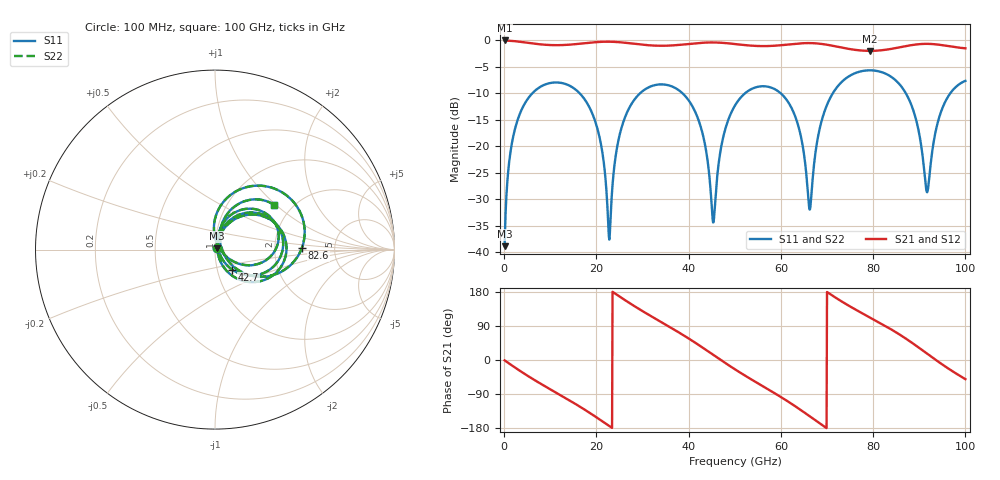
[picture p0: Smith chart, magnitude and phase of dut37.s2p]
! Touchstone file exported from HFSS 2026.1.0
!  File:  C:/ffzhzh/LocalFiles/Ansys_Project_Files/temp_train_TSV_RDL_37_1783618160_26216.aedt
!  Generated:  01:37:46 AM Jul 10, 2026
!  Design:  TSV_RDL
!  Project:  temp_train_TSV_RDL_37_1783618160_26216
! Variables:
!  h_bsmrdl = 4.16um
!  h_ox = 20um
!  h_rdl = 5um
!  h_sub = 93.59um
!  h_tmrdl = 3.98um
!  h_tsv = 93.59um
!  h_via = 3um
!  l_bsmrdl = 423.19um
!  l_sub = 2381.61um
!  l_tmrdl = 139.49um
!  m_sub = 200um
!  pitch = 47.05um
!  r_tsv = 6.36um
!  s_tmrdl = 10um
!  w_bsmrdl = 29.33um
!  w_sub = 500um
!  w_tmrdl = 22.03um
!  x_tsv_center1 = 150.505um
!  x_tsv_center2 = 603.025um
!  x_tsv_center3 = 764.545um
!  x_tsv_center4 = 1217.065um
!  x_tsv_center5 = 1378.585um
!  x_tsv_center6 = 1831.105um
# GHz S MA R 50.000000
! Terminal data exported
! Port[1] = TM_RDL1_1_T1
! Port[2] = TM_RDL5_1_T1
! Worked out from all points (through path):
!   1000 points, 100 MHz to 100 GHz, reference 50 ohm
!   highest |S21| = -0.08 dB at 100 MHz (marker M1); lowest = -2.0 dB at 79.3 GHz (marker M2)
!   group delay of S21, straight-line fit = 21.3 ps
!   lowest |S11| = -38.9 dB at 100 MHz (marker M3), VSWR 1.02, Z = 50.9 + j0.718 ohm
!   |S11| at or under -10 dB: 16.34 GHz to 29.51 GHz (13.17 GHz wide, 57.5 % of centre); 38.62 GHz to 52.28 GHz (13.65 GHz wide, 30 % of centre); 59.91 GHz to 71.28 GHz (11.37 GHz wide, 17.3 % of centre) (the widest 3 of 5)
!   |S22| runs from -38.9 to -5.7 dB; largest |S21 - S12| = 1.8e-14
!   S11 on the Smith chart (normalised r, x): 100 MHz: 1.02, +0.01; 42.7 GHz: 1.18, -0.27; 82.6 GHz: 2.88, +0.06; 100 GHz: 1.61, +0.97
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0.1  0.01141 38.2  0.9911 -0.9  0.9911 -0.9  0.01141 38.2
! Gamma 0 0 0 0
! Port Impedance 50 0 50 0
1.6  0.1018 69.3  0.9823 -13.6  0.9823 -13.6  0.1018 69.3
4.5  0.2533 48.9  0.9495 -37.1  0.9495 -37.1  0.2533 48.9
16.8  0.3005 -36.4  0.9273 -126.0  0.9273 -126.0  0.3004 -36.3
20.6  0.1258 -62.3  0.9599 -156.1  0.9599 -156.1  0.1258 -62.1
22.8  0.01314 6.6  0.9644 -174.2  0.9644 -174.2  0.01349 6.8
26.1  0.1821 63.5  0.9443 158.8  0.9443 158.8  0.1821 63.4
33.4  0.3808 13.2  0.8841 104.7  0.8841 104.7  0.3808 13.2
42.7  0.1481 -49.2  0.9413 35.4  0.9413 35.4  0.1481 -49.4
45.4  0.01918 21.5  0.949 13.1  0.949 13.1  0.01851 21.7
47.3  0.1113 76.7  0.9414 -2.6  0.9414 -2.6  0.1111 77.1
50.1  0.2438 60.3  0.9165 -25.1  0.9165 -25.1  0.2437 60.6
60.6  0.2956 -10.7  0.8991 -102.2  0.8991 -102.2  0.2956 -10.5
66.7  0.03897 75.8  0.935 -152.4  0.935 -152.4  0.03936 75.3
70.5  0.2741 79.5  0.8953 175.4  0.8953 175.4  0.2741 79.5
79.3  0.5184 21.7  0.7906 112.2  0.7906 112.2  0.5185 21.9
82.6  0.4842 1.0  0.8088 90.1  0.8088 90.1  0.4842 1.2
83.4  0.465 -4.2  0.8183 84.5  0.8183 84.5  0.4651 -3.9
88.6  0.2245 -38.1  0.8995 43.9  0.8995 43.9  0.2247 -37.5
91.7  0.03672 17.1  0.9208 16.7  0.9208 16.7  0.03863 17.3
94.8  0.2158 70.7  0.8978 -10.2  0.8978 -10.2  0.2162 70.3
100  0.4125 37.4  0.8359 -50.6  0.8359 -50.6  0.4126 37.3
